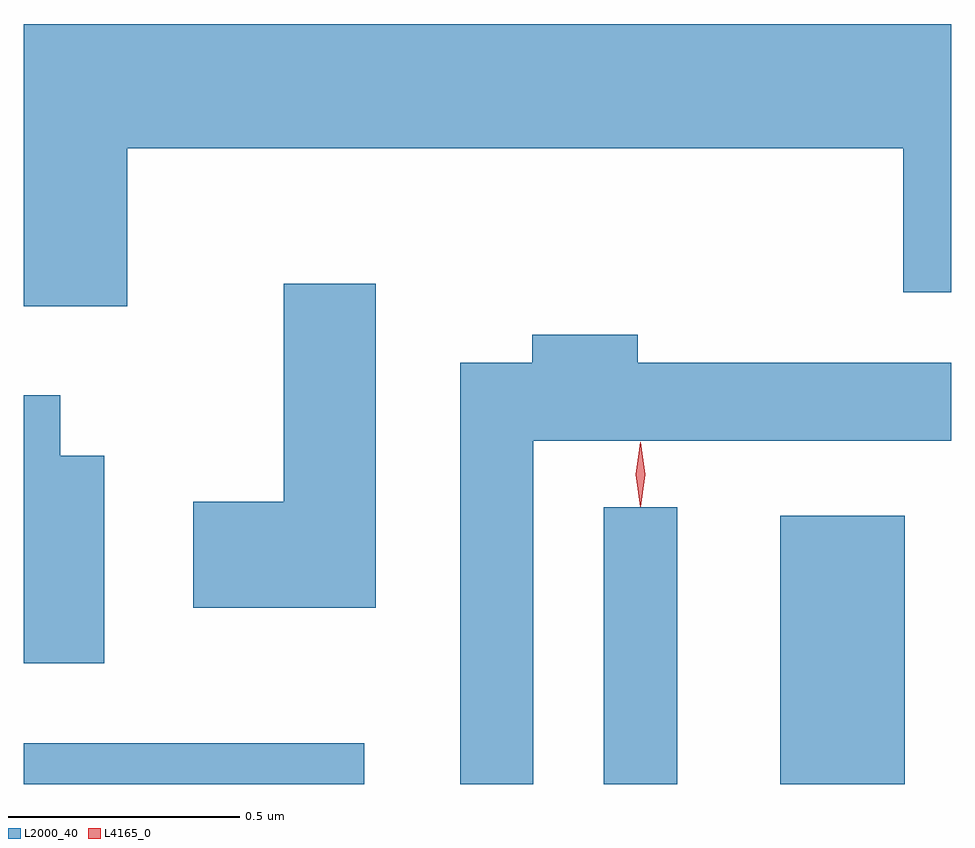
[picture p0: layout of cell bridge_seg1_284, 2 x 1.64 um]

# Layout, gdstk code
import gdstk
lib = gdstk.Library(unit=1e-6, precision=1e-09)
def R(c, l, rs):  # rectangles x0, y0, x1, y1
    for r in rs: c.add(gdstk.rectangle(r[:2], r[2:], *l))
def P(c, l, *ps):  # polygons
    for p in ps: c.add(gdstk.Polygon(p, *l))
L2000_40 = (2000, 40)
L4165_0 = (4165, 0)

bridge_seg1_284 = lib.new_cell('bridge_seg1_284')
R(bridge_seg1_284, L2000_40, [(849.655,898.206,850.389,898.294), (850.906,898.206,851.064,898.803), (851.286,898.206,851.554,898.784)])
P(bridge_seg1_284, L2000_40, [(849.879,899.576),(851.551,899.576),(851.551,899.266),(851.655,899.266),(851.655,899.844),(849.655,899.844),(849.655,899.236),(849.879,899.236)],
  [(850.414,899.284),(850.216,899.284),(850.216,898.814),(850.021,898.814),(850.021,898.586),(850.414,898.586)],
  [(850.754,898.946),(851.655,898.946),(851.655,899.114),(850.979,899.114),(850.979,899.174),(850.751,899.174),(850.751,899.114),(850.596,899.114),(850.596,898.206),(850.754,898.206)],
  [(849.829,898.914),(849.734,898.914),(849.734,899.044),(849.655,899.044),(849.655,898.466),(849.829,898.466)])
P(bridge_seg1_284, L4165_0, [(850.984,898.807),(850.975,898.874),(850.984,898.94),(850.985,898.941),(850.985,898.94),(850.995,898.874),(850.985,898.807),(850.985,898.807)],
  [(850.984,898.804),(850.975,898.873),(850.984,898.943),(850.985,898.943),(850.985,898.943),(850.995,898.873),(850.985,898.804),(850.985,898.804)])

lib.write_gds('bridge_seg1_284.gds')
